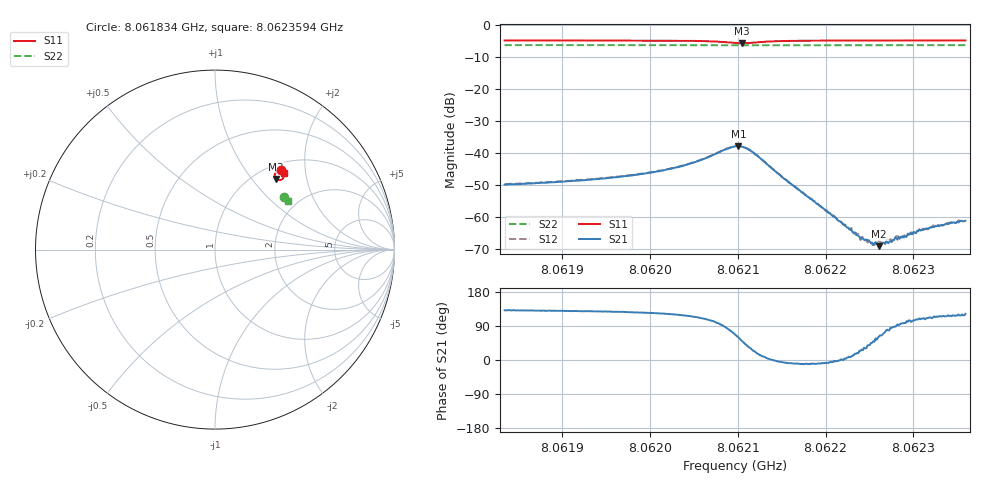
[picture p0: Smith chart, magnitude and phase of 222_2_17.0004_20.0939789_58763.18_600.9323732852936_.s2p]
#  HZ  S  RI  R  50.00
! Rohde & Schwarz Vector Network Analyzer
! Rohde-Schwarz,ZNB20-2Port,1311601062101988,3.16
! Created: UTC 3/20/2024, 11:02:01 PM
! freq[Hz]  re:S11  im:S11  re:S21  im:S21  re:S12  im:S12  re:S22  im:S22
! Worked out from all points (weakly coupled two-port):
!   401 points, 8.061834 GHz to 8.0623594 GHz, reference 50 ohm
!   highest |S21| = -37.88 dB at 8.0621006 GHz (marker M1); lowest = -69.2 dB at 8.0622609 GHz (marker M2)
!   lowest |S11| = -5.7 dB at 8.0621046 GHz (marker M3), VSWR 3.17, Z = 61.8 + j66.8 ohm
!   |S11| at or under -10 dB: nowhere
!   |S22| runs from -6.3 to -6.2 dB; largest |S21 - S12| = 0.00093
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8.061834e9  0.366 0.4446  -0.0021 0.00239  -0.002 0.00257  0.3871 0.2954
8.061922e9  0.3725 0.4386  -0.00235 0.0029  -0.00218 0.00305  0.3904 0.291
8.0619798e9  0.3776 0.433  -0.00262 0.00359  -0.00244 0.00381  0.3924 0.2881
8.06201001e9  0.3805 0.4286  -0.00281 0.00433  -0.00262 0.00457  0.3933 0.2866
8.06205335e9  0.3845 0.4157  -0.00287 0.00678  -0.00246 0.00703  0.3946 0.2839
8.0620967e9  0.3558 0.3872  0.00489 0.0118  0.00557 0.0114  0.3944 0.281
8.06210064e9  0.3481 0.389  0.00652 0.011  0.00719 0.0106  0.3942 0.2811
8.06210458e9  0.341 0.3936  0.00799 0.00963  0.00862 0.0091  0.394 0.2811
8.06211772e9  0.3325 0.417  0.00925 0.0041  0.00949 0.00354  0.3944 0.2818
8.06215318e9  0.3551 0.4393  0.00386 -0.000473  0.0039 -0.000677  0.3968 0.2806
8.0621847e9  0.3663 0.4386  0.00184 -0.000328  0.00181 -0.000435  0.3984 0.2791
8.0622425e9  0.3761 0.4345  0.000417 0.000205  0.000435 0.000218  0.4005 0.2759
8.06225432e9  0.3775 0.4337  0.000237 0.000276  0.000234 0.000274  0.401 0.2755
8.06226089e9  0.3782 0.4332  0.000164 0.000305  0.000253 0.000342  0.4012 0.2751
8.06226614e9  0.3787 0.4328  0.00013 0.000372  0.000134 0.000373  0.4014 0.2749
8.06227271e9  0.3793 0.4325  8.09e-05 0.000401  0.000103 0.000412  0.4016 0.2744
8.06228059e9  0.3801 0.432  -4.12e-07 0.000461  4.67e-05 0.000493  0.4018 0.2739
8.0622911e9  0.3811 0.4312  -6.39e-05 0.000496  -6.43e-05 0.00049  0.4022 0.2734
8.06230949e9  0.3827 0.4301  -0.000211 0.000589  -0.0002 0.000583  0.4029 0.2725
8.06232525e9  0.3841 0.429  -0.000285 0.000664  -0.000241 0.000694  0.4032 0.2718
8.06233444e9  0.3846 0.4286  -0.000329 0.000662  -0.000272 0.000685  0.4035 0.2714
8.0623594e9  0.3865 0.4271  -0.000456 0.000736  -0.000387 0.000767  0.4044 0.27
